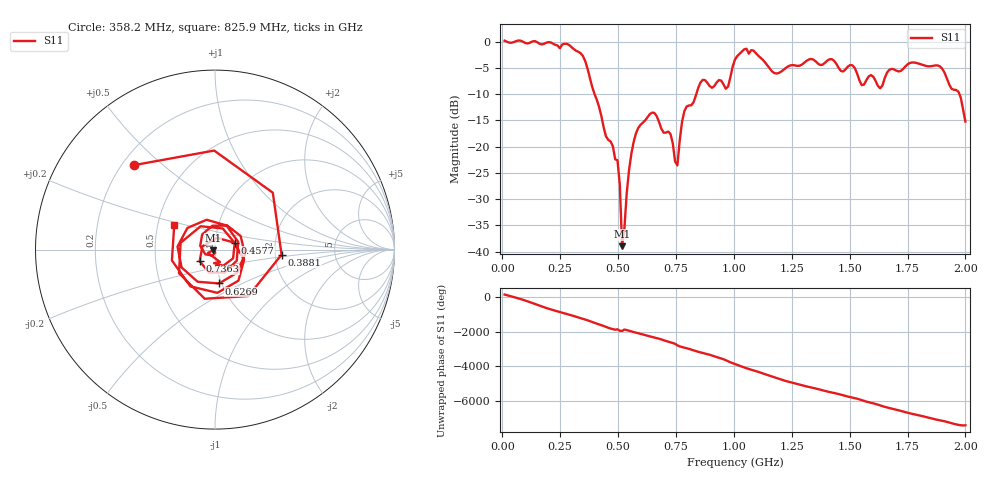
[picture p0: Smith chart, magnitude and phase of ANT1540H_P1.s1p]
!Created with skrf (http://scikit-rf.org).
# Hz S RI R 50.0
!freq ReS11 ImS11
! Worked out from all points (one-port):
!   201 points, 10 MHz to 2 GHz, reference 50 ohm
!   lowest |S11| = -38.9 dB at 517.5 MHz (marker M1), VSWR 1.02, Z = 48.9 - j0.327 ohm
!   |S11| at or under -10 dB: 398.6 MHz to 837.8 MHz (439.2 MHz wide, 71 % of centre); 1.974 GHz to end of sweep
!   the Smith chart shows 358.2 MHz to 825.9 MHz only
!   S11 on the Smith chart (normalised r, x): 358.2 MHz: 0.25, +0.40; 388.1 MHz: 2.17, -0.14; 457.8 MHz: 1.24, +0.09; 626.9 MHz: 0.97, -0.38; 736.4 MHz: 0.84, -0.11; 825.9 MHz: 0.61, +0.18
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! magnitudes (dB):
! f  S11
! 10 MHz  0.2
! 258.8 MHz  -0.5
! 358.2 MHz  -3.7
! 388.1 MHz  -8.6
! 457.8 MHz  -18.7
! 497.6 MHz  -22.6
! 507.5 MHz  -27.2
! 517.5 MHz  -38.9
! 547.3 MHz  -24.5
! 567.2 MHz  -19.1
! 626.9 MHz  -14.4
! 656.8 MHz  -13.6
! 736.4 MHz  -19.4
! 756.2 MHz  -23.6
! 786.1 MHz  -13.3
! 825.9 MHz  -11.6
! 865.7 MHz  -7.3
! 975.1 MHz  -8.5
! 1.005 GHz  -3.4
! 1.055 GHz  -1.4
! 1.174 GHz  -6.0
! 1.254 GHz  -4.5
! 1.502 GHz  -4.4
! 1.632 GHz  -8.9
! 1.751 GHz  -4.3
! 1.891 GHz  -4.7
! 1.97 GHz  -9.5
! 2 GHz  -15.2
